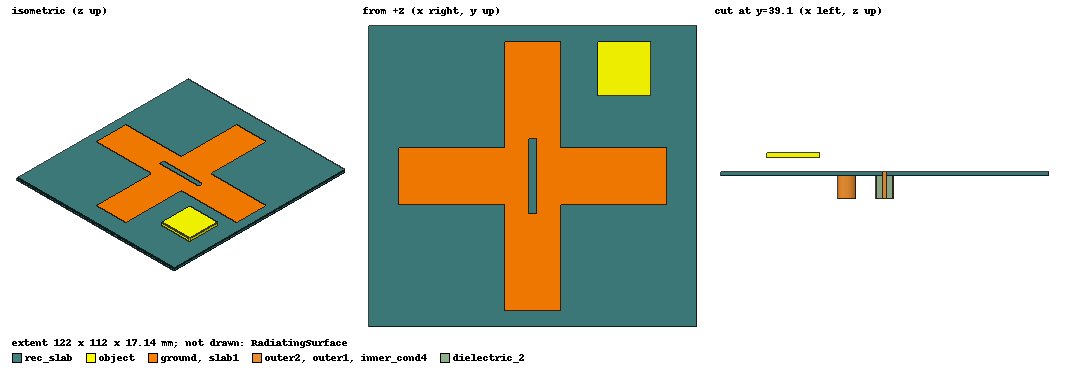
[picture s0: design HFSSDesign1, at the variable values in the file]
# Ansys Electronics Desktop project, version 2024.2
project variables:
  $unit_x = 40mm
  $unit_y = 30mm
  $unit_t = 0.035mm
  $hex_s = 10.8mm
  $hex_out = 10.8mm
  $hex_diff = 0.4/(sqrt(3)) mm
  $hex_in = $hex_out-2*$hex_diff
  $rec_x = 122mm
  $rect_y = 112mm
  $sub_rec_diff = 0mm
  $sub_x = $rect_x+2*$sub_rec_diff
  $sub_y = $rect_y+2*$sub_rec_diff
  $sub_t = 1.6mm
  $gnd_rec_diff = 0.5mm
  $gnd_x = $rect_x
  $gnd_y = $rect_y
  $rect_x = $rec_x
  $rec_y = $rect_y
  $inn_r = 0.9mm
  $out_r_in = 3mm
  $m1_x = 30mm
  $thi = 0.035mm
  $sc_h = 8.5mm
  $out_r = 3.2mm
  $strip_back_y = 2.2mm
  $strip_back_x = 2.5mm
  $via_r = $strip_back_y
  $slab_x = 21mm
  $slab_y = 100mm
  $cutslot_x = 3mm
  $cutslot_y = 28mm
  $m2_x = 80mm
  $plawav_x = 30mm
  $plawav_y = 30mm
  $plawav_z = 30mm
  $eo_x = 1
  $eo_y = 0
  $eo_z = 0
  $k_x = 0
  $k_y = 0
  $k_z = 1
  $obj_x = $obj_y
  $obj_y = 20mm
  $obj_z = 2mm
  $dist = 5mm
  $obpos_x = $m2_x/2-6mm
  $obpos_y = $m2_x/2
  $obpos_z = 5mm
  $er_material = 1
  $tand_material = 0.031
  $cond_material = 1S_per_m
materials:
  Arlon AD255A (tm): permittivity=2.55 dielectric_loss_tangent=0.0015
  copper: permeability=0.999991 conductivity=58000000
  FR4_epoxy: permittivity=4.4 dielectric_loss_tangent=0.02
  quartz_glass: permittivity=3.78
  Rogers Ultralam 1250 (tm): permittivity=2.5 dielectric_loss_tangent=0.0015
  Teflon (tm): permittivity=2.1 dielectric_loss_tangent=0.001
  vacuum: permittivity=1
  gold: permeability=0.99996 conductivity=41000000
  marble: permittivity=8.3
  PVC plastic: permittivity=2.7 dielectric_loss_tangent=0.007
  sample_material: permittivity=$er_material conductivity=$cond_material dielectric_loss_tangent=$tand_material
  perfect conductor: conductivity=1e+30
  silicon: permittivity=11.9
  silicon_dioxide: permittivity=4
  graphite: conductivity=70000
  air: permittivity=1.0006 permeability=1.0000004
  water_fresh: permittivity=81 permeability=0.999991 conductivity=0.01

design HFSSDesign1 (HFSS, HFSS Terminal Network, model units mm)
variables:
  b = 8mm
  a = 9.275mm
  vec = 2mm
  vn = 9
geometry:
  ver_hex4 = polyhedron(axis=Z, centre=(0mm, 0mm, 0mm), first_corner=(-$hex_out/2, sqrt(3)*$hex_out/2, 0mm), sides=6, height=$unit_t)
  hex_in = polyhedron(axis=Z, centre=(0mm, 0mm, 0mm), first_corner=(-$hex_in/2, sqrt(3)*$hex_in/2, 0mm), sides=6, height=$unit_t)
  ver_hex4.subtract(hex_in)
  rec_slab [FR4_epoxy] = box(corner=(-$sub_x/2, -$sub_y/2, -$sub_t), size=($sub_x, $sub_y, $sub_t))
  hex_out_1, hex_out_2 = ver_hex4.duplicate_along_line(step=(0mm, 18.306149mm, 0mm), total=3)
  hex_out_3, hex_out_4 = ver_hex4.duplicate_along_line(step=(0mm, -18.306149mm, 0mm), total=3)
  ver_hex5 = hex_out_2.duplicate_along_line(step=(15.85359mm, 9.1530744mm, 0mm), total=2)
  hex_out_2_1_1..hex_out_2_1_5 = ver_hex5.duplicate_along_line(step=(3.5527137e-15mm, -18.306149mm, 0mm), total=6)
  ver_hex4.unite(hex_out_1..hex_out_4)
  ver_hex5.unite(hex_out_2_1_1..hex_out_2_1_5)
  ver_hex3, ver_hex1 = ver_hex5.duplicate_along_line(step=(-31.70718mm, 0mm, 0mm), total=3)
  ver_hex6 = ver_hex4.duplicate_along_line(step=(31.70718mm, 0mm, 0mm), total=2)
  ver_hex2 = ver_hex4.duplicate_along_line(step=(-31.70718mm, 0mm, 0mm), total=2)
  ver_hex7 = ver_hex5.duplicate_along_line(step=(31.70718mm, 3.5527137e-14mm, 0mm), total=2)
  ver_hex1.unite(ver_hex2..ver_hex7)
  RadiatingSurface [vacuum] = region(absolute_offset=33.333333mm on all sides)
  slab1 [copper] = box(corner=(-$slab_x/2, -$slab_y/2, 0mm), size=($slab_x, $slab_y, $unit_t))
  slab2 = slab1.duplicate_around_axis(axis=Z, angle=90deg, total=2)
  slab1.unite(slab2)
  slab1.unite(ver_hex1)
  cutout_slot = box(corner=(-$cutslot_x/2, -$cutslot_y/2, 0mm), size=($cutslot_x, $cutslot_y, $unit_t))
  slab1.subtract(cutout_slot)
  ground [copper] = box(corner=(-$gnd_x/2, -$gnd_y/2, -$thi-$sub_t), size=($gnd_x, $gnd_y, $thi))
  port1 = circle(normal=Z, centre=($m1_x/2-$inn_r, 0, -$sc_h-$sub_t), radius=$out_r_in)
  pecCap1 [copper] = sweep_along_normal(port1.face(at (14.1, 0, -10.1)), length=-0.035mm)
  port1.delete()
  outer1 [copper] = cylinder(axis=Z, base_centre=($m1_x/2-$inn_r, 0, -$thi-$sub_t), radius=$out_r, height=-$sc_h)
  dielectric = cylinder(axis=Z, base_centre=($m1_x/2-$inn_r, 0, -$thi-$sub_t), radius=$out_r_in, height=-$sc_h)
  outer1.subtract(dielectric)
  dielectric_1 [Teflon (tm)] = cylinder(axis=Z, base_centre=($m1_x/2-$inn_r, 0, -$sub_t), radius=$out_r_in, height=-$sc_h)
  sub_die = cylinder(axis=Z, base_centre=($m1_x/2-$inn_r, 0, -$sub_t), radius=$inn_r, height=-$sc_h)
  dielectric_1.subtract(sub_die)
  inner_cond1 [copper] = cylinder(axis=Z, base_centre=($m1_x /2-$inn_r, 0, 0), radius=$inn_r, height=-$sc_h-$sub_t)
  inner_cond2 = cylinder(axis=Z, base_centre=($m1_x /2-$inn_r, 0, 0), radius=$inn_r, height=-$sub_t)
  rec_slab.subtract(inner_cond2)
  inner_cond3 = cylinder(axis=Z, base_centre=($m1_x /2-$inn_r, 0, -$sub_t), radius=$out_r, height=-$thi)
  ground.subtract(inner_cond3)
  port_1 = circle(normal=Z, centre=($m1_x/2-$inn_r, 0mm, -$sc_h-$sub_t), radius=$out_r_in)
  port2 = circle(normal=Z, centre=(0, $m2_x/2-$inn_r, -$sc_h-$sub_t), radius=$out_r_in)
  pecCap2 [copper] = sweep_along_normal(port2.face(at (0, 39.1, -10.1)), length=-0.035mm)
  port2.delete()
  outer2 [copper] = cylinder(axis=Z, base_centre=(0, $m2_x/2-$inn_r, -$thi-$sub_t), radius=$out_r, height=-$sc_h)
  dielectric1 = cylinder(axis=Z, base_centre=(0, $m2_x/2-$inn_r, -$thi-$sub_t), radius=$out_r_in, height=-$sc_h)
  outer2.subtract(dielectric1)
  dielectric_2 [Teflon (tm)] = cylinder(axis=Z, base_centre=(0, $m2_x/2-$inn_r, -$sub_t), radius=$out_r_in, height=-$sc_h)
  sub_die1 = cylinder(axis=Z, base_centre=(0, $m2_x/2-$inn_r, -$sub_t), radius=$inn_r, height=-$sc_h)
  dielectric_2.subtract(sub_die1)
  inner_cond4 [copper] = cylinder(axis=Z, base_centre=(0, $m2_x /2-$inn_r, 0), radius=$inn_r, height=-$sc_h-$sub_t)
  inner_cond5 = cylinder(axis=Z, base_centre=(0, $m2_x /2-$inn_r, -$sub_t), radius=$out_r, height=-$thi)
  ground.subtract(inner_cond5)
  inner_cond6 = cylinder(axis=Z, base_centre=(0, $m2_x /2-$inn_r, 0), radius=$inn_r, height=-$sub_t)
  rec_slab.subtract(inner_cond6)
  coordinate_system RelativeCS1 = origin=(-60mm, 55mm, -1.635mm) x=(1mm, 0mm, 0mm) y=(0mm, 1mm, 0mm)
  coordinate_system RelativeCS2 = origin=(52.96077mm, -55.118446mm, 0.035mm) x=(1mm, 0mm, 0mm) y=(0mm, 1mm, 0mm)
  coordinate_system RelativeCS4 = origin=(52.73mm, -56mm, 0.035mm) x=(1mm, 0mm, 0mm) y=(0mm, 1mm, 0mm)
  coordinate_system RelativeCS5 = origin=(61mm, -56mm, -1.635mm) x=(1mm, 0mm, 0mm) y=(0mm, 1mm, 0mm)
  coordinate_system RelativeCS6 = origin=(0mm, 0mm, (1.635+0.035) mm) x=(1mm, 0mm, 0mm) y=(0mm, 1mm, 0mm) in RelativeCS5
  port_2 = circle(normal=Z, centre=(0mm, $m2_x/2-$inn_r, -$sc_h-$sub_t), radius=$out_r_in)
  object [sample_material] = box(corner=($obpos_x-$obj_x /2, $obpos_y-$obj_y/2, $obpos_z), size=($obj_x, $obj_y, $obj_z))
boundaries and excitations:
  Open1: Radiation Objects=RadiatingSurface
  PerfE1: Perfect E Objects=slab1
  PerfE2: Perfect E Objects=ground
  1: Wave Port Objects=port_1 WavePortType=Modal NumModes=1 Modes{Mode1{IntLine{(14.1, 0, -10.1) -> (14.1, -3, -10.1)} CharImp=Zpi}}
  2: Wave Port Objects=port_2 WavePortType=Modal NumModes=1 Modes{Mode1{IntLine{(0, 39.1, -10.1) -> (0, 36.1, -10.1)} CharImp=Zpi}}
  reference conductors: pecCap1
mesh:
  initial mesh: MeshMethod=AnsoftClassic DynamicSurfaceResolution
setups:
  Setup1: HfssDrivenAuto AutoSolverSetting="Higher Speed" InfiniteSphereSetup=1 Type=Discrete
    sweep Sweep: 6GHz to 10GHz step 0.05GHz;
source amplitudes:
  1:1, 2:1: 1V 0deg
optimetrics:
  ParametricSetup1: Parametric Sim._Setups=[Setup1]
    sweep $er_material: LIN 1 81 40
  ParametricSetup2: Parametric disabled Sim._Setups=[Setup1]
    sweep $cond_material: DEC 10S_per_m 1000000S_per_m 1
  ParametricSetup3: Parametric disabled Sim._Setups=[Setup1]
    sweep $obj_y: LIN 5mm 15mm 5mm
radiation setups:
  3D: Infinite Sphere Theta=0deg..180deg step 2deg Phi=-180deg..180deg step 2deg
  Elevation: Infinite Sphere Theta=-180deg..180deg step 1deg Phi=0deg..90deg step 90deg
  Azimuth: Infinite Sphere Theta=90deg..90deg step 0deg Phi=-180deg..180deg step 1deg
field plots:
  Mag_E1: E Field over slab1.face(all 260) on Setup1 : LastAdaptive at Freq=8GHz Phase=0deg
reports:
  Realized Gain Plot 3: dB(RealizedGainTotal) vs Phi on Setup1 : LastAdaptive, Azimuth [Theta=all Freq=8GHz $obj_y=all]
  S Parameter Plot 1: dB(S(1,1)) vs Freq on Setup1 : Sweep [$obj_y=all $obpos_z=all $er_material=all]
  Gain Plot 1: GainTotal vs Theta, Phi on Setup1 : LastAdaptive, Elevation
  Gain Plot 2: abs(GainTotal) vs Phi on Setup1 : LastAdaptive, Azimuth [Theta=all Freq=8GHz $obj_y=all]
  Directivity Plot 1: DirTotal vs Phi on Setup1 : LastAdaptive, Azimuth [Theta=all Freq=8GHz $obj_y=all]
  Realized Gain Plot 4: abs(RealizedGainTotal) vs Theta on Setup1 : LastAdaptive, Elevation [Phi=90deg Freq=7.9GHz $obj_y=all]; abs(RealizedGainTotal) vs Phi on Setup1 : LastAdaptive, Azimuth [Theta=all Freq=7.9GHz $obj_y=all]; abs(RealizedGainTotal) vs Theta on Setup1 : LastAdaptive, Elevation [Phi=0deg Freq=7.9GHz $obj_y=all]
  S Parameter Plot 2: dB(S(2,2)) vs Freq on Setup1 : Sweep [$obj_y=all $obpos_z=all $er_material=all]
  S Parameter Plot 3: dB(S(1,1)), dB(S(2,1)), dB(S(1,2)), dB(S(2,2)) vs Freq on Setup1 : Sweep [$obj_y=all $obpos_z=all $er_material=all]
  Gain Plot 6: abs(GainTotal) vs Phi on Setup1 : LastAdaptive, Azimuth [Theta=all Freq=8GHz $obj_y=all $er_material=all]; abs(GainTotal) vs Theta on Setup1 : LastAdaptive, Elevation [Phi=90deg Freq=8GHz $obj_y=all $er_material=all]
  Gain Plot 7: abs(GainTotal) vs Theta on Setup1 : LastAdaptive, Elevation [Phi=90deg Freq=8GHz $obj_y=all $er_material=all]
  Gain Plot 8: dB(GainTotal) vs Theta on Setup1 : LastAdaptive, Elevation [Phi=90deg Freq=8GHz $obj_y=all $er_material=all]
  S Parameter Plot 4: dB(S(2,2)) vs Freq on Setup1 : Sweep [$obj_y=all $obpos_z=all $er_material=all $cond_material=all]
  S Parameter Plot 5: dB(S(1,1)), dB(S(2,1)), dB(S(1,2)), dB(S(2,2)) vs Freq on Setup1 : Sweep [$obj_y=all $obpos_z=all $er_material=all $cond_material=all]
  S Parameter Plot 6: dB(S(1,1)) vs Freq on Setup1 : Sweep [$obj_y=all $obpos_z=all $er_material=all $cond_material=10]
  S Parameter Plot 7: dB(S(1,1)) vs Freq on Setup1 : Sweep [$obj_y=all $obpos_z=all $er_material=all $cond_material=1]
  S Parameter Plot 8: dB(S(1,1)), dB(S(2,1)), dB(S(1,2)), dB(S(2,2)) vs Freq on Setup1 : Sweep [$obj_y=all $obpos_z=all $er_material=all $cond_material=1]
